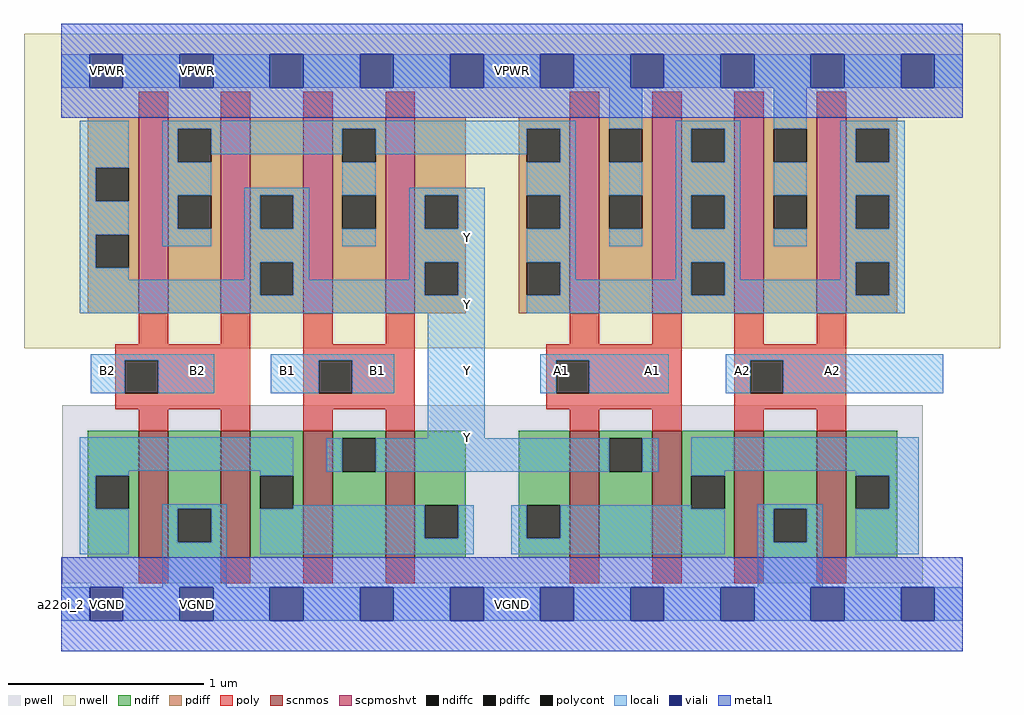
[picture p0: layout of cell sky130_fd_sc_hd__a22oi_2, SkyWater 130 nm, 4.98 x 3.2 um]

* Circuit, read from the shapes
.subckt sky130_fd_sc_hd__a22oi_2 A1 A2 B1 B2 VGND VNB VPB VPWR Y
XM1 VGND B2 n1 VNB sky130_fd_pr__nfet_01v8 w=0.65 l=0.15 m=2
XM2 Y B1 n1 VNB sky130_fd_pr__nfet_01v8 w=0.65 l=0.15 m=2
XM3 Y A1 n2 VNB sky130_fd_pr__nfet_01v8 w=0.65 l=0.15 m=2
XM4 VGND A2 n2 VNB sky130_fd_pr__nfet_01v8 w=0.65 l=0.15 m=2
XM5 n3 B2 Y VPB sky130_fd_pr__pfet_01v8_hvt w=1 l=0.15 m=2
XM6 n3 B1 Y VPB sky130_fd_pr__pfet_01v8_hvt w=1 l=0.15 m=2
XM7 VPWR A1 n3 VPB sky130_fd_pr__pfet_01v8_hvt w=1 l=0.15 m=2
XM8 VPWR A2 n3 VPB sky130_fd_pr__pfet_01v8_hvt w=1 l=0.15 m=2
.ends

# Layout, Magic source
magic
tech sky130A
magscale 1 2
<< nwell >>
rect -38 261 958 582
<< pwell >>
rect 1 21 879 203
rect 30 -17 64 21
<< scnmos >>
rect 79 47 109 177
rect 163 47 193 177
rect 247 47 277 177
rect 331 47 361 177
rect 519 47 549 177
rect 603 47 633 177
rect 687 47 717 177
rect 771 47 801 177
<< scpmoshvt >>
rect 79 297 109 497
rect 163 297 193 497
rect 247 297 277 497
rect 331 297 361 497
rect 519 297 549 497
rect 603 297 633 497
rect 687 297 717 497
rect 771 297 801 497
<< ndiff >>
rect 27 131 79 177
rect 27 97 35 131
rect 69 97 79 131
rect 27 47 79 97
rect 109 97 163 177
rect 109 63 119 97
rect 153 63 163 97
rect 109 47 163 63
rect 193 131 247 177
rect 193 97 203 131
rect 237 97 247 131
rect 193 47 247 97
rect 277 169 331 177
rect 277 135 287 169
rect 321 135 331 169
rect 277 47 331 135
rect 361 101 413 177
rect 361 67 371 101
rect 405 67 413 101
rect 361 47 413 67
rect 467 101 519 177
rect 467 67 475 101
rect 509 67 519 101
rect 467 47 519 67
rect 549 169 603 177
rect 549 135 559 169
rect 593 135 603 169
rect 549 47 603 135
rect 633 131 687 177
rect 633 97 643 131
rect 677 97 687 131
rect 633 47 687 97
rect 717 97 771 177
rect 717 63 727 97
rect 761 63 771 97
rect 717 47 771 63
rect 801 131 853 177
rect 801 97 811 131
rect 845 97 853 131
rect 801 47 853 97
<< pdiff >>
rect 27 445 79 497
rect 27 411 35 445
rect 69 411 79 445
rect 27 377 79 411
rect 27 343 35 377
rect 69 343 79 377
rect 27 297 79 343
rect 109 485 163 497
rect 109 451 119 485
rect 153 451 163 485
rect 109 417 163 451
rect 109 383 119 417
rect 153 383 163 417
rect 109 297 163 383
rect 193 417 247 497
rect 193 383 203 417
rect 237 383 247 417
rect 193 349 247 383
rect 193 315 203 349
rect 237 315 247 349
rect 193 297 247 315
rect 277 485 331 497
rect 277 451 287 485
rect 321 451 331 485
rect 277 417 331 451
rect 277 383 287 417
rect 321 383 331 417
rect 277 297 331 383
rect 361 417 413 497
rect 361 383 371 417
rect 405 383 413 417
rect 361 349 413 383
rect 361 315 371 349
rect 405 315 413 349
rect 361 297 413 315
rect 467 485 519 497
rect 467 451 475 485
rect 509 451 519 485
rect 467 417 519 451
rect 467 383 475 417
rect 509 383 519 417
rect 467 349 519 383
rect 467 315 475 349
rect 509 315 519 349
rect 467 297 519 315
rect 549 485 603 497
rect 549 451 559 485
rect 593 451 603 485
rect 549 417 603 451
rect 549 383 559 417
rect 593 383 603 417
rect 549 297 603 383
rect 633 485 687 497
rect 633 451 643 485
rect 677 451 687 485
rect 633 417 687 451
rect 633 383 643 417
rect 677 383 687 417
rect 633 349 687 383
rect 633 315 643 349
rect 677 315 687 349
rect 633 297 687 315
rect 717 485 771 497
rect 717 451 727 485
rect 761 451 771 485
rect 717 417 771 451
rect 717 383 727 417
rect 761 383 771 417
rect 717 297 771 383
rect 801 485 853 497
rect 801 451 811 485
rect 845 451 853 485
rect 801 417 853 451
rect 801 383 811 417
rect 845 383 853 417
rect 801 349 853 383
rect 801 315 811 349
rect 845 315 853 349
rect 801 297 853 315
<< ndiffc >>
rect 35 97 69 131
rect 119 63 153 97
rect 203 97 237 131
rect 287 135 321 169
rect 371 67 405 101
rect 475 67 509 101
rect 559 135 593 169
rect 643 97 677 131
rect 727 63 761 97
rect 811 97 845 131
<< pdiffc >>
rect 35 411 69 445
rect 35 343 69 377
rect 119 451 153 485
rect 119 383 153 417
rect 203 383 237 417
rect 203 315 237 349
rect 287 451 321 485
rect 287 383 321 417
rect 371 383 405 417
rect 371 315 405 349
rect 475 451 509 485
rect 475 383 509 417
rect 475 315 509 349
rect 559 451 593 485
rect 559 383 593 417
rect 643 451 677 485
rect 643 383 677 417
rect 643 315 677 349
rect 727 451 761 485
rect 727 383 761 417
rect 811 451 845 485
rect 811 383 845 417
rect 811 315 845 349
<< poly >>
rect 79 497 109 523
rect 163 497 193 523
rect 247 497 277 523
rect 331 497 361 523
rect 519 497 549 523
rect 603 497 633 523
rect 687 497 717 523
rect 771 497 801 523
rect 79 265 109 297
rect 163 265 193 297
rect 55 249 193 265
rect 55 215 65 249
rect 99 215 193 249
rect 55 199 193 215
rect 79 177 109 199
rect 163 177 193 199
rect 247 265 277 297
rect 331 265 361 297
rect 519 265 549 297
rect 603 265 633 297
rect 247 249 361 265
rect 247 215 263 249
rect 297 215 361 249
rect 247 199 361 215
rect 495 249 633 265
rect 495 215 505 249
rect 539 215 633 249
rect 495 199 633 215
rect 247 177 277 199
rect 331 177 361 199
rect 519 177 549 199
rect 603 177 633 199
rect 687 265 717 297
rect 771 265 801 297
rect 687 249 801 265
rect 687 215 703 249
rect 737 215 801 249
rect 687 199 801 215
rect 687 177 717 199
rect 771 177 801 199
rect 79 21 109 47
rect 163 21 193 47
rect 247 21 277 47
rect 331 21 361 47
rect 519 21 549 47
rect 603 21 633 47
rect 687 21 717 47
rect 771 21 801 47
<< polycont >>
rect 65 215 99 249
rect 263 215 297 249
rect 505 215 539 249
rect 703 215 737 249
<< locali >>
rect 0 527 29 561
rect 63 527 121 561
rect 155 527 213 561
rect 247 527 305 561
rect 339 527 397 561
rect 431 527 489 561
rect 523 527 581 561
rect 615 527 673 561
rect 707 527 765 561
rect 799 527 857 561
rect 891 527 920 561
rect 19 445 69 493
rect 19 411 35 445
rect 19 377 69 411
rect 19 343 35 377
rect 103 485 525 493
rect 103 451 119 485
rect 153 459 287 485
rect 103 417 153 451
rect 321 459 475 485
rect 103 383 119 417
rect 103 365 153 383
rect 187 417 253 425
rect 187 383 203 417
rect 237 383 253 417
rect 19 331 69 343
rect 187 349 253 383
rect 287 417 321 451
rect 509 451 525 485
rect 287 365 321 383
rect 355 417 432 425
rect 355 383 371 417
rect 405 383 432 417
rect 187 331 203 349
rect 19 315 203 331
rect 237 331 253 349
rect 355 349 432 383
rect 355 331 371 349
rect 237 315 371 331
rect 405 315 432 349
rect 19 297 432 315
rect 475 417 525 451
rect 509 383 525 417
rect 475 349 525 383
rect 559 485 593 527
rect 559 417 593 451
rect 559 365 593 383
rect 627 485 693 493
rect 627 451 643 485
rect 677 451 693 485
rect 627 417 693 451
rect 627 383 643 417
rect 677 383 693 417
rect 509 331 525 349
rect 627 349 693 383
rect 727 485 761 527
rect 727 417 761 451
rect 727 365 761 383
rect 795 485 861 493
rect 795 451 811 485
rect 845 451 861 485
rect 795 417 861 451
rect 795 383 811 417
rect 845 383 861 417
rect 627 331 643 349
rect 509 315 643 331
rect 677 331 693 349
rect 795 349 861 383
rect 795 331 811 349
rect 677 315 811 331
rect 845 315 861 349
rect 475 297 861 315
rect 30 249 156 255
rect 30 215 65 249
rect 99 215 156 249
rect 214 249 340 255
rect 214 215 263 249
rect 297 215 340 249
rect 19 136 237 170
rect 374 169 432 297
rect 489 249 620 255
rect 489 215 505 249
rect 539 215 620 249
rect 678 249 900 255
rect 678 215 703 249
rect 737 215 900 249
rect 19 131 69 136
rect 19 97 35 131
rect 203 131 237 136
rect 271 135 287 169
rect 321 135 559 169
rect 593 135 609 169
rect 643 136 875 170
rect 19 51 69 97
rect 103 97 169 102
rect 103 63 119 97
rect 153 63 169 97
rect 103 17 169 63
rect 643 131 677 136
rect 237 97 371 101
rect 203 67 371 97
rect 405 67 421 101
rect 203 51 421 67
rect 459 67 475 101
rect 509 97 643 101
rect 811 131 875 136
rect 509 67 677 97
rect 459 51 677 67
rect 711 97 777 102
rect 711 63 727 97
rect 761 63 777 97
rect 711 17 777 63
rect 845 97 875 131
rect 811 51 875 97
rect 0 -17 29 17
rect 63 -17 121 17
rect 155 -17 213 17
rect 247 -17 305 17
rect 339 -17 397 17
rect 431 -17 489 17
rect 523 -17 581 17
rect 615 -17 673 17
rect 707 -17 765 17
rect 799 -17 857 17
rect 891 -17 920 17
<< viali >>
rect 29 527 63 561
rect 121 527 155 561
rect 213 527 247 561
rect 305 527 339 561
rect 397 527 431 561
rect 489 527 523 561
rect 581 527 615 561
rect 673 527 707 561
rect 765 527 799 561
rect 857 527 891 561
rect 29 -17 63 17
rect 121 -17 155 17
rect 213 -17 247 17
rect 305 -17 339 17
rect 397 -17 431 17
rect 489 -17 523 17
rect 581 -17 615 17
rect 673 -17 707 17
rect 765 -17 799 17
rect 857 -17 891 17
<< metal1 >>
rect 0 561 920 592
rect 0 527 29 561
rect 63 527 121 561
rect 155 527 213 561
rect 247 527 305 561
rect 339 527 397 561
rect 431 527 489 561
rect 523 527 581 561
rect 615 527 673 561
rect 707 527 765 561
rect 799 527 857 561
rect 891 527 920 561
rect 0 496 920 527
rect 0 17 920 48
rect 0 -17 29 17
rect 63 -17 121 17
rect 155 -17 213 17
rect 247 -17 305 17
rect 339 -17 397 17
rect 431 -17 489 17
rect 523 -17 581 17
rect 615 -17 673 17
rect 707 -17 765 17
rect 799 -17 857 17
rect 891 -17 920 17
rect 0 -48 920 -17
<< labels >>
flabel locali s 494 221 528 255 0 FreeSans 200 0 0 0 A1
port 1 nsew signal input
flabel locali s 586 221 620 255 0 FreeSans 200 0 0 0 A1
port 1 nsew signal input
flabel locali s 678 221 712 255 0 FreeSans 200 0 0 0 A2
port 2 nsew signal input
flabel locali s 770 221 804 255 0 FreeSans 200 0 0 0 A2
port 2 nsew signal input
flabel locali s 306 221 340 255 0 FreeSans 200 0 0 0 B1
port 3 nsew signal input
flabel locali s 122 221 156 255 0 FreeSans 200 0 0 0 B2
port 4 nsew signal input
flabel locali s 398 153 432 187 0 FreeSans 200 0 0 0 Y
port 9 nsew signal output
flabel locali s 398 221 432 255 0 FreeSans 200 0 0 0 Y
port 9 nsew signal output
flabel locali s 398 357 432 391 0 FreeSans 200 0 0 0 Y
port 9 nsew signal output
flabel locali s 398 289 432 323 0 FreeSans 200 0 0 0 Y
port 9 nsew signal output
flabel locali s 122 527 156 561 0 FreeSans 200 0 0 0 VPWR
port 8 nsew power bidirectional abutment
flabel locali s 122 -17 156 17 0 FreeSans 200 0 0 0 VGND
port 5 nsew ground bidirectional abutment
flabel locali s 30 221 64 255 0 FreeSans 200 0 0 0 B2
port 4 nsew signal input
flabel locali s 214 221 248 255 0 FreeSans 200 0 0 0 B1
port 3 nsew signal input
flabel metal1 s 30 527 64 561 0 FreeSans 200 0 0 0 VPWR
port 8 nsew power bidirectional abutment
flabel metal1 s 30 -17 64 17 0 FreeSans 200 0 0 0 VGND
port 5 nsew ground bidirectional abutment
flabel nwell s 30 527 64 561 0 FreeSans 200 0 0 0 VPB
port 7 nsew power bidirectional
flabel pwell s 30 -17 64 17 0 FreeSans 200 0 0 0 VNB
port 6 nsew ground bidirectional
rlabel comment s 0 0 0 0 4 a22oi_2
rlabel metal1 s 0 -48 920 48 1 VGND
port 5 nsew ground bidirectional abutment
rlabel metal1 s 0 496 920 592 1 VPWR
port 8 nsew power bidirectional abutment
<< properties >>
string FIXED_BBOX 0 0 920 544
string GDS_END 4051862
string GDS_FILE $PDKPATH/libs.ref/sky130_fd_sc_hd/gds/sky130_fd_sc_hd.gds
string GDS_START 4043376
string LEFclass CORE
string LEFsite unithd
string LEFsymmetry X Y R90
string path 0.000 13.600 23.000 13.600 
<< end >>
